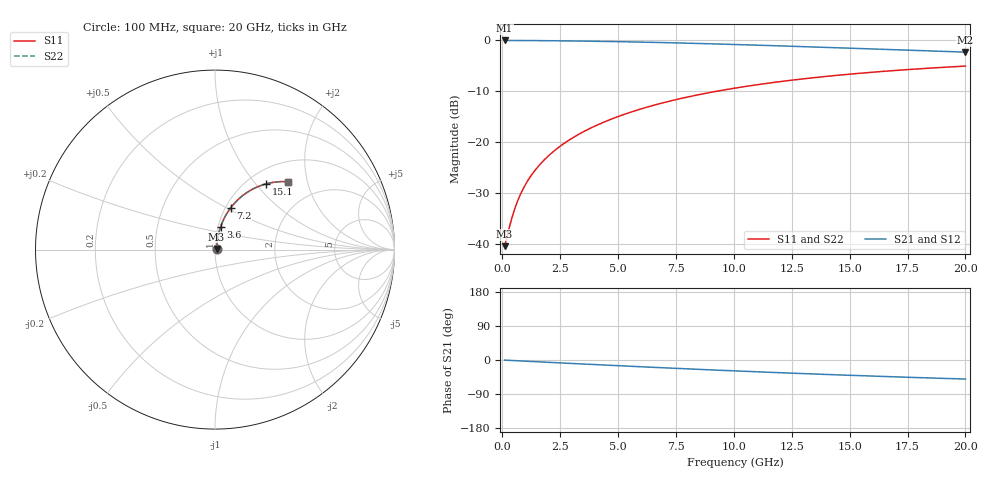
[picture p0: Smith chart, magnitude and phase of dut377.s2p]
! Touchstone file exported from HFSS 2024.1.0
!  File:  C:/UserFiles/LocalFiles/RDL_TSV_Batchsim/temp_RDL_bottom_377_1779613676.aedt
!  Generated:  05:11:05 PM May 24, 2026
!  Design:  RDL_bottom
!  Project:  temp_RDL_bottom_377_1779613676
!  Setup:  Setup1
!  Solution:  Sweep
! Variables:
!  dtsv = 10.80580581um
!  hbump = 3um
!  htsv = 92.83um
!  ldown = 624.5um
!  lrdl = 100um
!  p = 40
!  p1 = 54.52um
!  rhole = 1um
!  t = 450um
!  tdown = 2.1um
!  trdl = 3.915915916um
!  wdown = 12.23um
!  wrdl = 20um
# GHz S MA R 50.000000
! Terminal data exported
! Port[1] = RDL1_T1
! Port[2] = RDL1_T2
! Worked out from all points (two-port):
!   200 points, 100 MHz to 20 GHz, reference 50 ohm
!   highest |S21| = -0.08 dB at 100 MHz (marker M1); lowest = -2.4 dB at 20 GHz (marker M2)
!   |S21| within 3 dB of the highest: start of sweep to end of sweep
!   lowest |S11| = -40.5 dB at 100 MHz (marker M3), VSWR 1.02, Z = 50.9 + j0.379 ohm
!   |S11| at or under -10 dB: start of sweep to 9.33 GHz
!   |S22| runs from -40.5 to -5.1 dB; largest |S21 - S12| = 4.1e-15
!   S11 on the Smith chart (normalised r, x): 100 MHz: 1.02, +0.01; 3.6 GHz: 1.03, +0.26; 7.2 GHz: 1.06, +0.53; 15.1 GHz: 1.22, +1.14; 20 GHz: 1.40, +1.53
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0.1  0.009431 23.3  0.9913 -0.3  0.9913 -0.3  0.009431 23.3
! Gamma 0 0 0 0
! Port Impedance 50 0 50 0
0.4  0.01741 58.4  0.991 -1.3  0.991 -1.3  0.01741 58.4
0.6  0.02412 66.3  0.9905 -1.9  0.9905 -1.9  0.02412 66.3
0.7  0.02757 68.7  0.9903 -2.2  0.9903 -2.2  0.02757 68.7
0.9  0.03454 71.9  0.9897 -2.8  0.9897 -2.8  0.03454 71.8
1.2  0.04503 74.5  0.9888 -3.7  0.9888 -3.7  0.04503 74.5
1.4  0.05203 75.5  0.9881 -4.3  0.9881 -4.3  0.05203 75.5
1.7  0.06254 76.4  0.987 -5.2  0.987 -5.2  0.06254 76.4
2.2  0.08006 77.1  0.9848 -6.8  0.9848 -6.8  0.08006 77.1
2.8  0.1011 77.0  0.9817 -8.6  0.9817 -8.6  0.1011 77.0
3.5  0.1255 76.3  0.9773 -10.6  0.9773 -10.6  0.1255 76.3
3.6  0.129 76.2  0.9766 -10.9  0.9766 -10.9  0.129 76.2
4.3  0.1532 75.2  0.9713 -13.0  0.9713 -13.0  0.1532 75.1
5  0.1772 73.9  0.9652 -15.0  0.9652 -15.0  0.1772 73.9
6.8  0.2373 70.2  0.9465 -20.1  0.9465 -20.1  0.2372 70.2
7.2  0.2502 69.3  0.9419 -21.3  0.9419 -21.3  0.2502 69.3
8.6  0.2942 66.2  0.9244 -25.0  0.9244 -25.0  0.2941 66.2
10.1  0.3387 62.8  0.9041 -28.9  0.9041 -28.9  0.3386 62.8
13.4  0.4257 55.6  0.8561 -36.8  0.8561 -36.8  0.4256 55.6
15.1  0.4646 52.1  0.8309 -40.6  0.8309 -40.6  0.4644 52.1
16.7  0.4975 49.0  0.8075 -44.0  0.8075 -44.0  0.4973 48.9
20  0.5553 42.9  0.7612 -50.3  0.7612 -50.3  0.555 42.9
